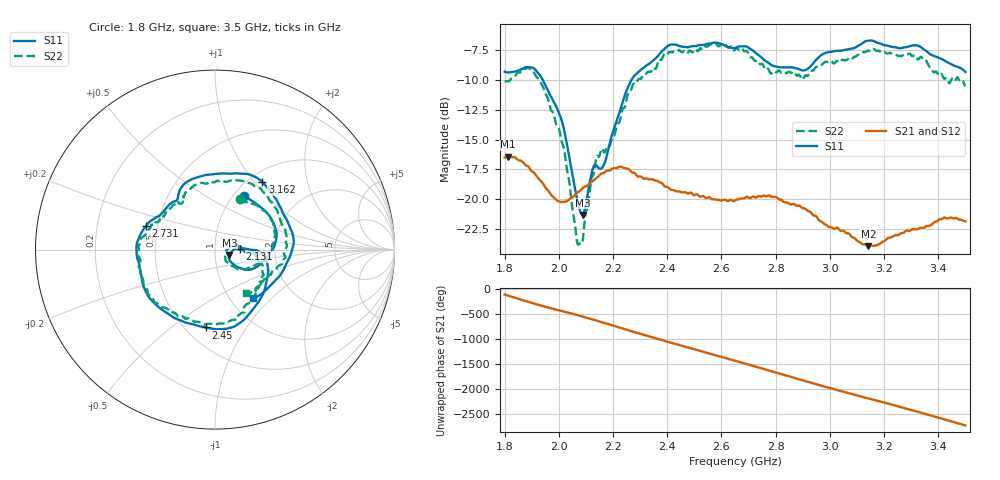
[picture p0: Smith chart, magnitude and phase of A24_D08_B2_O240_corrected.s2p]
! Created with skrf 1.9.0 (http://scikit-rf.org).
# Hz S RI R 50.0
!freq ReS11 ImS11 ReS21 ImS21 ReS12 ImS12 ReS22 ImS22
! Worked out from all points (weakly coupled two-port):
!   1601 points, 1.8 GHz to 3.5 GHz, reference 50 ohm
!   highest |S21| = -16.43 dB at 1.812 GHz (marker M1); lowest = -23.9 dB at 3.142 GHz (marker M2)
!   lowest |S11| = -21.3 dB at 2.088 GHz (marker M3), VSWR 1.19, Z = 58.7 - j3.49 ohm
!   |S11| at or under -10 dB: 1.941 GHz to 2.268 GHz (327.2 MHz wide, 15.5 % of centre)
!   |S22| runs from -23.8 to -7.0 dB; largest |S21 - S12| = 0.0029
!   S11 on the Smith chart (normalised r, x): 1.8 GHz: 1.11, +0.76; 2.131 GHz: 1.32, +0.01; 2.45 GHz: 0.63, -0.67; 2.731 GHz: 0.43, +0.13; 3.162 GHz: 1.15, +1.10; 3.5 GHz: 1.27, -0.77
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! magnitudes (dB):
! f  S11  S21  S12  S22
! 1.8 GHz  -9.3  -16.5  -16.5  -10.1
! 1.812 GHz  -9.4  -16.4  -16.4  -10.1
! 1.887 GHz  -8.9  -17.2  -17.3  -9.0
! 1.941 GHz  -10.0  -18.7  -18.7  -10.6
! 2.011 GHz  -13.5  -20.2  -20.2  -15.3
! 2.066 GHz  -19.8  -19.5  -19.5  -23.4
! 2.084 GHz  -21.3  -19.2  -19.1  -23.8
! 2.088 GHz  -21.3  -19.1  -19.1  -23.5
! 2.131 GHz  -17.2  -18.4  -18.4  -17.5
! 2.168 GHz  -17.0  -17.8  -17.8  -16.1
! 2.269 GHz  -10.0  -17.7  -17.7  -10.7
! 2.367 GHz  -8.0  -18.5  -18.5  -8.4
! 2.45 GHz  -7.2  -19.4  -19.4  -7.6
! 2.65 GHz  -7.3  -20.1  -20.1  -7.5
! 2.731 GHz  -7.8  -19.8  -19.8  -8.4
! 2.808 GHz  -8.9  -19.9  -19.9  -9.2
! 2.934 GHz  -8.7  -21.2  -21.2  -9.2
! 3.142 GHz  -6.7  -23.9  -23.8  -7.5
! 3.162 GHz  -6.7  -23.9  -23.9  -7.4
! 3.217 GHz  -7.2  -23.2  -23.2  -7.8
! 3.325 GHz  -7.1  -22.5  -22.5  -8.3
! 3.5 GHz  -9.3  -21.9  -21.9  -10.5
